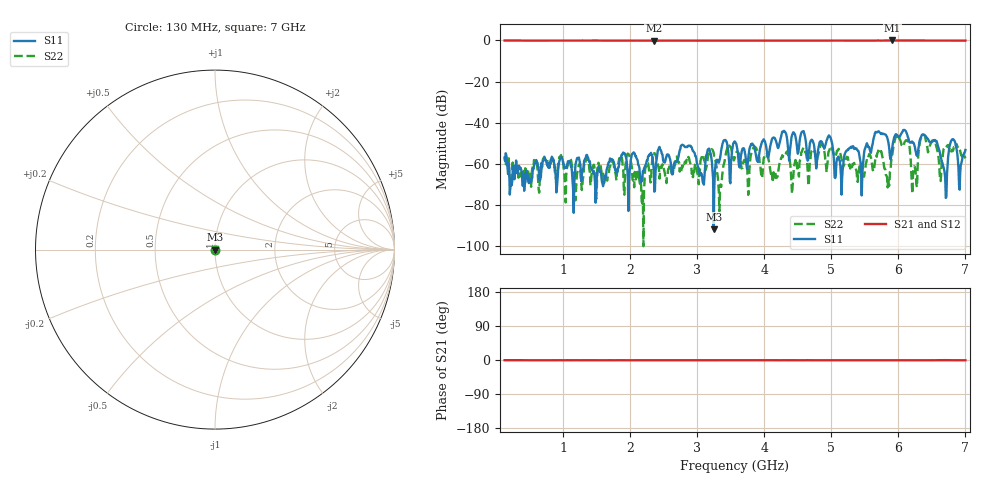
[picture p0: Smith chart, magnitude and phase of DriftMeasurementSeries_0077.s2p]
# Hz S RI R 50.000000
! Metas.Vna.Tools, 2.8.8664.20301
! Metas.Vna.Data, 2.8.8664.20285
! Created: UTC 2024.02.11 10:08:40
! FREQ  re:S1,1  im:S1,1  re:S2,1  im:S2,1  re:S1,2  im:S1,2  re:S2,2  im:S2,2
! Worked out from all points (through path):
!   801 points, 130 MHz to 7 GHz, reference 50 ohm
!   highest |S21| = -0.08 dB at 5.909 GHz (marker M1); lowest = -0.2 dB at 2.354 GHz (marker M2)
!   lowest |S11| = -91.8 dB at 3.247 GHz (marker M3), VSWR 1.00, Z = 50 + j9.28e-05 ohm
!   |S11| at or under -10 dB: start of sweep to end of sweep
!   |S22| runs from -99.9 to -45.9 dB; largest |S21 - S12| = 0.025
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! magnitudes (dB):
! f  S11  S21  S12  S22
! 130 MHz  -56.9  -0.1  0.0  -58.4
! 1.281 GHz  -64.8  -0.1  0.0  -72.6
! 1.976 GHz  -82.8  -0.2  0.0  -55.3
! 2.182 GHz  -68.0  -0.2  0.0  -79.2
! 2.354 GHz  -62.6  -0.2  0.0  -54.9
! 2.423 GHz  -53.0  -0.2  0.0  -61.3
! 3.247 GHz  -91.8  -0.2  0.0  -54.6
! 3.342 GHz  -57.3  -0.2  0.0  -72.1
! 3.565 GHz  -49.2  -0.1  0.0  -56.6
! 4.158 GHz  -47.4  -0.1  0.0  -66.4
! 4.716 GHz  -48.3  -0.1  0.0  -53.1
! 5.154 GHz  -74.9  -0.1  0.0  -57.7
! 5.72 GHz  -44.7  -0.1  0.0  -53.8
! 5.858 GHz  -50.8  -0.1  0.0  -70.8
! 5.909 GHz  -52.1  -0.1  0.0  -55.4
! 6.133 GHz  -45.7  -0.1  0.0  -48.6
! 6.244 GHz  -51.5  -0.1  0.0  -61.3
! 6.356 GHz  -45.7  -0.2  0.0  -46.2
! 6.545 GHz  -48.3  -0.1  0.0  -49.4
! 6.699 GHz  -67.4  -0.1  0.0  -52.0
! 6.802 GHz  -48.1  -0.2  0.0  -53.1
! 7 GHz  -53.2  -0.2  0.0  -57.3
